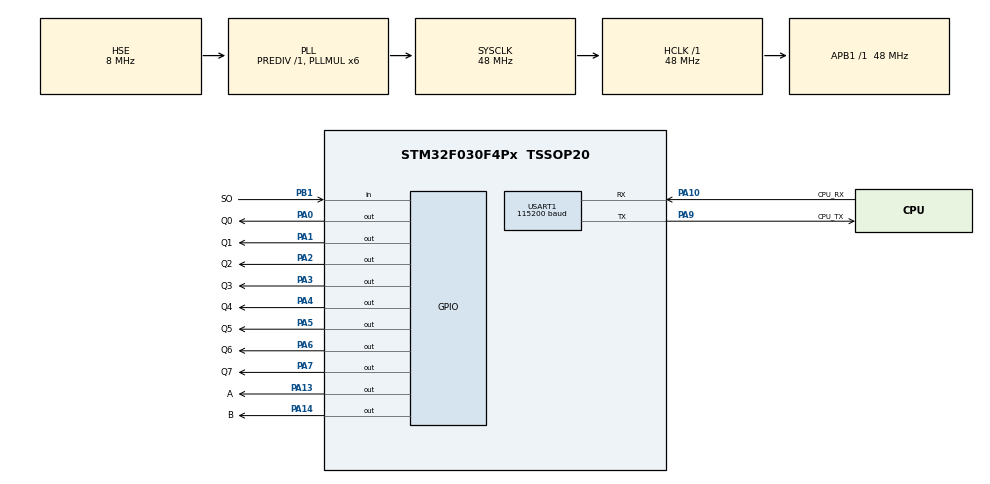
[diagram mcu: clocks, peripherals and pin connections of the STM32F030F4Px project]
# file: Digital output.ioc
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Dma.Request0=USART1_TX
Dma.Request1=USART1_RX
Dma.USART1_RX.1.Direction=DMA_PERIPH_TO_MEMORY
Dma.USART1_RX.1.Instance=DMA1_Channel3
Dma.USART1_RX.1.MemDataAlignment=DMA_MDATAALIGN_BYTE
Dma.USART1_RX.1.MemInc=DMA_MINC_ENABLE
Dma.USART1_RX.1.Mode=DMA_NORMAL
Dma.USART1_RX.1.PeriphDataAlignment=DMA_PDATAALIGN_BYTE
Dma.USART1_RX.1.PeriphInc=DMA_PINC_DISABLE
Dma.USART1_RX.1.Priority=DMA_PRIORITY_HIGH
Dma.USART1_TX.0.Direction=DMA_MEMORY_TO_PERIPH
Dma.USART1_TX.0.Instance=DMA1_Channel2
Dma.USART1_TX.0.MemDataAlignment=DMA_MDATAALIGN_BYTE
Dma.USART1_TX.0.MemInc=DMA_MINC_ENABLE
Dma.USART1_TX.0.Mode=DMA_NORMAL
Dma.USART1_TX.0.PeriphDataAlignment=DMA_PDATAALIGN_BYTE
Dma.USART1_TX.0.PeriphInc=DMA_PINC_DISABLE
Dma.USART1_TX.0.Priority=DMA_PRIORITY_MEDIUM
IWDG.Prescaler=IWDG_PRESCALER_64
IWDG.Reload=1250
Mcu.Family=STM32F0
Mcu.Name=STM32F030F4Px
Mcu.Package=TSSOP20
NVIC.DMA1_Channel2_3_IRQn=true\:0\:0\:false\:false\:true\:false\:true\:true
NVIC.TIM1_BRK_UP_TRG_COM_IRQn=true\:0\:0\:false\:false\:true\:true\:true\:true
NVIC.USART1_IRQn=true\:0\:0\:false\:false\:true\:true\:true\:true
PA0.GPIO_Label=Q0
PA0.GPIO_PuPd=GPIO_PULLUP
PA0.Signal=GPIO_Output
PA1.GPIO_Label=Q1
PA1.GPIO_PuPd=GPIO_PULLUP
PA1.Signal=GPIO_Output
PA10.GPIO_Label=CPU_RX
PA10.GPIO_PuPd=GPIO_NOPULL
PA10.Mode=Asynchronous
PA10.Signal=USART1_RX
PA13.GPIO_Label=A
PA13.GPIO_PuPd=GPIO_PULLUP
PA13.GPIO_Speed=GPIO_SPEED_FREQ_HIGH
PA13.PinState=GPIO_PIN_SET
PA13.Signal=GPIO_Output
PA14.GPIO_Label=B
PA14.GPIO_PuPd=GPIO_PULLUP
PA14.GPIO_Speed=GPIO_SPEED_FREQ_HIGH
PA14.PinState=GPIO_PIN_SET
PA14.Signal=GPIO_Output
PA2.GPIO_Label=Q2
PA2.GPIO_PuPd=GPIO_PULLUP
PA2.Signal=GPIO_Output
PA3.GPIO_Label=Q3
PA3.GPIO_PuPd=GPIO_PULLUP
PA3.Signal=GPIO_Output
PA4.GPIO_Label=Q4
PA4.GPIO_PuPd=GPIO_PULLUP
PA4.Signal=GPIO_Output
PA5.GPIO_Label=Q5
PA5.GPIO_PuPd=GPIO_PULLUP
PA5.Signal=GPIO_Output
PA6.GPIO_Label=Q6
PA6.GPIO_PuPd=GPIO_PULLUP
PA6.Signal=GPIO_Output
PA7.GPIO_Label=Q7
PA7.GPIO_PuPd=GPIO_PULLUP
PA7.Signal=GPIO_Output
PA9.GPIO_Label=CPU_TX
PA9.GPIO_PuPd=GPIO_NOPULL
PA9.Mode=Asynchronous
PA9.Signal=USART1_TX
PB1.GPIO_Label=SO
PB1.GPIO_PuPd=GPIO_PULLUP
PB1.Signal=GPIO_Input
PF0-OSC_IN.Mode=HSE-External-Oscillator
PF0-OSC_IN.Signal=RCC_OSC_IN
PF1-OSC_OUT.Mode=HSE-External-Oscillator
PF1-OSC_OUT.Signal=RCC_OSC_OUT
ProjectManager.HeapSize=0x200
ProjectManager.StackSize=0x400
ProjectManager.TargetToolchain=MDK-ARM V5.27
RCC.AHBFreq_Value=48000000
RCC.APB1Freq_Value=48000000
RCC.APB1TimFreq_Value=48000000
RCC.FLatency=FLASH_LATENCY_1
RCC.HCLKFreq_Value=48000000
RCC.PLLMUL=RCC_PLL_MUL6
RCC.PLLSourceVirtual=RCC_PLLSOURCE_HSE
RCC.SYSCLKFreq_VALUE=48000000
RCC.SYSCLKSource=RCC_SYSCLKSOURCE_PLLCLK
TIM1.AutoReloadPreload=TIM_AUTORELOAD_PRELOAD_ENABLE
TIM1.ClockDivision=TIM_CLOCKDIVISION_DIV1
TIM1.CounterMode=TIM_COUNTERMODE_UP
TIM1.Period=1000
TIM1.Prescaler=48-1
TIM1.RepetitionCounter=0
TIM1.TIM_MasterOutputTrigger=TIM_TRGO_RESET
TIM1.TIM_MasterSlaveMode=TIM_MASTERSLAVEMODE_DISABLE
USART1.AutoBaudRateEnableParam=UART_ADVFEATURE_AUTOBAUDRATE_DISABLE
USART1.BaudRate=115200
USART1.DMADisableonRxErrorParam=ADVFEATURE_DMA_ENABLEONRXERROR
USART1.DataInvertParam=ADVFEATURE_DATAINV_DISABLE
USART1.MSBFirstParam=ADVFEATURE_MSBFIRST_DISABLE
USART1.Mode=MODE_TX_RX
USART1.OneBitSampling=UART_ONE_BIT_SAMPLE_DISABLE
USART1.OverSampling=UART_OVERSAMPLING_16
USART1.OverrunDisableParam=ADVFEATURE_OVERRUN_ENABLE
USART1.Parity=PARITY_NONE
USART1.RxPinLevelInvertParam=ADVFEATURE_RXINV_DISABLE
USART1.StopBits=STOPBITS_1
USART1.SwapParam=ADVFEATURE_SWAP_DISABLE
USART1.TxPinLevelInvertParam=ADVFEATURE_TXINV_DISABLE
USART1.VirtualMode-Asynchronous=VM_ASYNC
USART1.WordLength=WORDLENGTH_8B
VP_IWDG_VS_IWDG.Mode=IWDG_Activate
VP_TIM1_VS_ClockSourceINT.Mode=Internal
board=custom

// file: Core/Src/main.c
/* USER CODE BEGIN Header */
/**
 ******************************************************************************
 * @file           : main.c
 * @brief          : Main program body
 ******************************************************************************
 * @attention
 *
 * <h2><center>&copy; Copyright (c) 2022 STMicroelectronics.
 * All rights reserved.</center></h2>
 *
 * This software component is licensed by ST under BSD 3-Clause license,
 * the "License"; You may not use this file except in compliance with the
 * License. You may obtain a copy of the License at:
 *                        opensource.org/licenses/BSD-3-Clause
 *
 ******************************************************************************
 */
/* USER CODE END Header */
#include "main.h"
#include "dma.h"
#include "iwdg.h"
#include "tim.h"
#include "usart.h"
#include "gpio.h"

/* USER CODE BEGIN Includes */
#include "tool.h"
#include "Modbus.h"
#include "io_signal.h"
/* USER CODE END Includes */

/* USER CODE BEGIN PTD */
typedef enum
{
  irq_start,
  irq_continue,
  irq_end,
} irq_state;

typedef struct
{
  irq_state status : 7;
  IRQ_Type irq : 1;
  uint8_t first_flag : 1;
  uint16_t counter;
} irq_sm_handle;

irq_sm_handle irq_sm;

void TIRQ_Handle(void *arg)
{
#define IRQ_BASE_TIMES (200U) //����16���ʱ�䣨115200bpsʱ16msһ�飩
#define IRQ_OFFSET_TIMES (2U)
#define IRQ_LOW_TIMES (1U)
  /*Interrupt signal generation*/
  pModbusHandle pd = Modbus_Object;
  SoftTimer *pt = (SoftTimer *)arg;
  irq_sm_handle *const psm = &irq_sm;

  if (NULL == pd->Slave.pHandle ||
      NULL == pt)
    return;

  /*The board model is read or the corresponding interrupt processing request is responded*/
  psm->status = *(bool *)pd->Slave.pHandle
                    ? irq_end
                : psm->first_flag
                    ? psm->status
                    : irq_start;

  switch (psm->status)
  {
  case irq_start:
  {
    psm->irq = Enable;
    psm->counter = IRQ_LOW_TIMES;
    psm->first_flag = true;
    psm->status = irq_continue;
  }
  break;
  case irq_continue:
  {
    psm->irq = DisEnable;
    psm->counter = IRQ_BASE_TIMES;
    psm->status = irq_start;
  }
  break;
  case irq_end:
  {
    psm->first_flag = false;
    psm->irq = DisEnable;
  }
  break;
  }
  pt->target_counter = psm->counter;
  IRQ_Handle(psm->irq);
}

static void Debug_Handle(void *arg)
{
#if defined(USING_DEBUG)

#endif
}

SoftTimer timer_map[] = {
    {.run_flag = true, .enable = true, .execute_flag = false, .event = TIRQ_Handle, .target_counter = 100U},
    {.run_flag = false, .enable = true, .execute_flag = false, .event = Modbus_Handle, .target_counter = 1U},
    {.run_flag = false, .enable = true, .execute_flag = false, .event = Write_Digital_IO, .target_counter = 50U},
    {.run_flag = false, .enable = false, .execute_flag = false, .event = Debug_Handle, .target_counter = 1000U},
};
Timer_HandleTypeDef stimer = {
    .pmap = timer_map,
    .numbers = sizeof(timer_map) / sizeof(SoftTimer),
};
/* USER CODE END PTD */

void SystemClock_Config(void);

int main(void)
{

  /* MCU Configuration--------------------------------------------------------*/

  /* Reset of all peripherals, Initializes the Flash interface and the Systick. */
  HAL_Init();

  /* USER CODE BEGIN Init */
  //  HAL_Delay(5000);
  /* USER CODE END Init */

  /* Configure the system clock */
  SystemClock_Config();

  /* Initialize all configured peripherals */
  MX_GPIO_Init();
  MX_DMA_Init();
  MX_USART1_UART_Init();
  MX_TIM1_Init();
  MX_IWDG_Init();
  /* USER CODE BEGIN 2 */
  ptimer = &stimer;
  MX_ModbusInit();
  if (Modbus_Object)
  {
    __HAL_UART_ENABLE_IT(Modbus_Object->huart, UART_IT_IDLE);
    /*DMA buffer must point to an entity address!!!*/
    HAL_UART_Receive_DMA(Modbus_Object->huart, Modbus_Object->Slave.pRbuf, Modbus_Object->Slave.RxSize);
    Modbus_Object->Slave.RxCount = 0U;
    ptimer->pmap[0].arg = &ptimer->pmap[0];
    ptimer->pmap[0].target_counter = Modbus_Object->Slave_Id
                                         ? IRQ_BASE_TIMES + (Modbus_Object->Slave_Id * IRQ_OFFSET_TIMES)
                                         : IRQ_BASE_TIMES;
  }
  /* Enable receive error interrupt */
  __HAL_UART_ENABLE_IT(&huart1, UART_IT_ERR);
  /*Wait for the main cpu to start*/
  HAL_Delay(1000);
  HAL_TIM_Base_Start_IT(&htim1);
  /* USER CODE END 2 */

  /* Infinite loop */
  while (1)
  {

    /* USER CODE BEGIN 3 */
    HAL_IWDG_Refresh(&hiwdg);
    Timer_Handle();
  }
  /* USER CODE END 3 */
}

void SystemClock_Config(void)
{
  RCC_OscInitTypeDef RCC_OscInitStruct = {0};
  RCC_ClkInitTypeDef RCC_ClkInitStruct = {0};
  RCC_PeriphCLKInitTypeDef PeriphClkInit = {0};

  /** Initializes the RCC Oscillators according to the specified parameters
  * in the RCC_OscInitTypeDef structure.
  */
  RCC_OscInitStruct.OscillatorType = RCC_OSCILLATORTYPE_LSI|RCC_OSCILLATORTYPE_HSE;
  RCC_OscInitStruct.HSEState = RCC_HSE_ON;
  RCC_OscInitStruct.LSIState = RCC_LSI_ON;
  RCC_OscInitStruct.PLL.PLLState = RCC_PLL_ON;
  RCC_OscInitStruct.PLL.PLLSource = RCC_PLLSOURCE_HSE;
  RCC_OscInitStruct.PLL.PLLMUL = RCC_PLL_MUL6;
  RCC_OscInitStruct.PLL.PREDIV = RCC_PREDIV_DIV1;
  if (HAL_RCC_OscConfig(&RCC_OscInitStruct) != HAL_OK)
  {
    Error_Handler();
  }

  /** Initializes the CPU, AHB and APB buses clocks
  */
  RCC_ClkInitStruct.ClockType = RCC_CLOCKTYPE_HCLK|RCC_CLOCKTYPE_SYSCLK
                              |RCC_CLOCKTYPE_PCLK1;
  RCC_ClkInitStruct.SYSCLKSource = RCC_SYSCLKSOURCE_PLLCLK;
  RCC_ClkInitStruct.AHBCLKDivider = RCC_SYSCLK_DIV1;
  RCC_ClkInitStruct.APB1CLKDivider = RCC_HCLK_DIV1;

  if (HAL_RCC_ClockConfig(&RCC_ClkInitStruct, FLASH_LATENCY_1) != HAL_OK)
  {
    Error_Handler();
  }
  PeriphClkInit.PeriphClockSelection = RCC_PERIPHCLK_USART1;
  PeriphClkInit.Usart1ClockSelection = RCC_USART1CLKSOURCE_PCLK1;
  if (HAL_RCCEx_PeriphCLKConfig(&PeriphClkInit) != HAL_OK)
  {
    Error_Handler();
  }
}

/* USER CODE BEGIN 4 */
/*https://blog.csdn.net/mickey35/article/details/78529637*/
void HAL_UART_ErrorCallback(UART_HandleTypeDef *huart)
{
  MX_USART1_UART_Init();
}
/* USER CODE END 4 */

void Error_Handler(void)
{
  __disable_irq();
  while (1)
  {
  }
}
